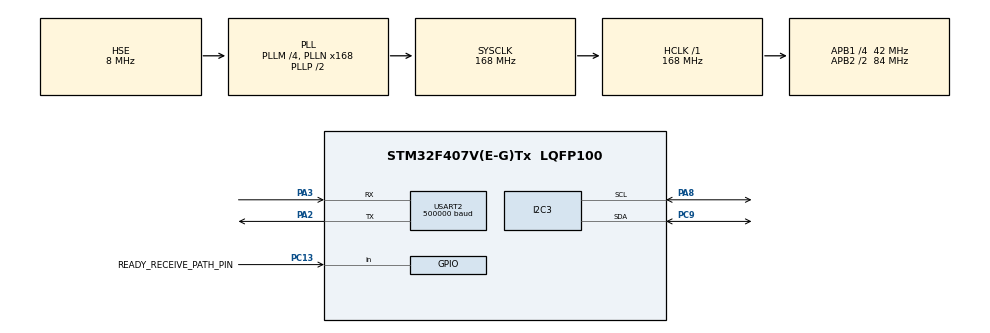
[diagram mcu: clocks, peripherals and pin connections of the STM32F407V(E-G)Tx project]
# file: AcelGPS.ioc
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FREERTOS.Tasks01=defaultTask,24,128,StartDefaultTask,Default,NULL,Dynamic,NULL,NULL
Mcu.Family=STM32F4
Mcu.Name=STM32F407V(E-G)Tx
Mcu.Package=LQFP100
NVIC.PriorityGroup=NVIC_PRIORITYGROUP_4
NVIC.TIM6_DAC_IRQn=true\:15\:0\:false\:false\:true\:false\:false\:true
NVIC.TimeBase=TIM6_DAC_IRQn
NVIC.TimeBaseIP=TIM6
NVIC.USART2_IRQn=true\:5\:0\:false\:false\:true\:true\:true\:true
PA2.Mode=Asynchronous
PA2.Signal=USART2_TX
PA3.Mode=Asynchronous
PA3.Signal=USART2_RX
PA8.Mode=I2C
PA8.Signal=I2C3_SCL
PC13-ANTI_TAMP.GPIO_Label=READY_RECEIVE_PATH_PIN
PC13-ANTI_TAMP.GPIO_PuPd=GPIO_PULLUP
PC13-ANTI_TAMP.Signal=GPIO_Input
PC9.Mode=I2C
PC9.Signal=I2C3_SDA
PH0-OSC_IN.Mode=HSE-External-Oscillator
PH0-OSC_IN.Signal=RCC_OSC_IN
PH1-OSC_OUT.Mode=HSE-External-Oscillator
PH1-OSC_OUT.Signal=RCC_OSC_OUT
ProjectManager.HeapSize=0x200
ProjectManager.StackSize=0x400
ProjectManager.TargetToolchain=STM32CubeIDE
RCC.48MHZClocksFreq_Value=84000000
RCC.AHBFreq_Value=168000000
RCC.APB1CLKDivider=RCC_HCLK_DIV4
RCC.APB1Freq_Value=42000000
RCC.APB1TimFreq_Value=84000000
RCC.APB2CLKDivider=RCC_HCLK_DIV2
RCC.APB2Freq_Value=84000000
RCC.APB2TimFreq_Value=168000000
RCC.CortexFreq_Value=168000000
RCC.HCLKFreq_Value=168000000
RCC.HSE_VALUE=8000000
RCC.HSI_VALUE=16000000
RCC.LSE_VALUE=32768
RCC.PLLM=4
RCC.PLLN=168
RCC.PLLSourceVirtual=RCC_PLLSOURCE_HSE
RCC.SYSCLKFreq_VALUE=168000000
RCC.SYSCLKSource=RCC_SYSCLKSOURCE_PLLCLK
RCC.VCOOutputFreq_Value=336000000
USART2.BaudRate=500000
USART2.VirtualMode=VM_ASYNC
VP_FREERTOS_VS_CMSIS_V2.Mode=CMSIS_V2
VP_SYS_VS_tim6.Mode=TIM6
board=custom

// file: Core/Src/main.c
/* USER CODE BEGIN Header */
/**
  ******************************************************************************
  * @file           : main.c
  * @brief          : Main program body
  ******************************************************************************
  * @attention
  *
  * <h2><center>&copy; Copyright (c) 2024 STMicroelectronics.
  * All rights reserved.</center></h2>
  *
  * This software component is licensed by ST under BSD 3-Clause license,
  * the "License"; You may not use this file except in compliance with the
  * License. You may obtain a copy of the License at:
  *                        opensource.org/licenses/BSD-3-Clause
  *
  ******************************************************************************
  */
/* USER CODE END Header */
#include "main.h"
#include "cmsis_os.h"

/* USER CODE BEGIN Includes */
#include <stdint.h>
#include <stdlib.h>
#include "math.h"
#include "task.h"
#include "queue.h"
#include "semphr.h"
#include "serial_uart.h"
/* USER CODE END Includes */

I2C_HandleTypeDef hi2c3;

UART_HandleTypeDef huart2;

/* Definitions for defaultTask */
osThreadId_t defaultTaskHandle;
const osThreadAttr_t defaultTask_attributes = {
  .name = "defaultTask",
  .stack_size = 128 * 4,
  .priority = (osPriority_t) osPriorityNormal,
};

void SystemClock_Config(void);
static void MX_GPIO_Init(void);
static void MX_USART2_UART_Init(void);
static void MX_I2C3_Init(void);
void StartDefaultTask(void *argument);

/* USER CODE BEGIN PFP */
float dt = 0.01;
void PID_func (int16_t in, int16_t setpt, int16_t *udata, int16_t kp, int16_t ki, int16_t kd, float T);
void hedgehog_send_write_answer_success(void);
void hedgehog_set_crc16(uint8_t *buf, uint8_t size);
static void iecompass(int16_t iBpx, int16_t iBpy, int16_t iBpz,int16_t iGpx, int16_t iGpy, int16_t iGpz);
static int16_t iTrig(int16_t ix, int16_t iy);
static int16_t iHundredAtan2Deg(int16_t iy, int16_t ix);
static int16_t iHundredAtanDeg(int16_t iy, int16_t ix);
static int16_t iDivide(int16_t iy, int16_t ix);
void task_UARTman( void *pvParameters );
void task_AcelGyr( void *pvParameters );
void task_MagRot( void *pvParameters );
void task_RobotPos( void *pvParameters );
QueueHandle_t xQueue_GPS;
QueueHandle_t xQueue_VelAng;
QueueHandle_t xQueue_VelLin;
QueueHandle_t xQueue_RotBase;
QueueHandle_t xQueue_CampMag;
QueueHandle_t xQueue_VelAux;
QueueHandle_t xQueue_CampAux;
QueueHandle_t xQueue_SetpointPos;
QueueHandle_t xQueue_SetVelMot;
QueueHandle_t xQueue_RotYaw;
QueueHandle_t xQueue_XYref;
SemaphoreHandle_t xSerial_semaphore; //semaforo a ser utilizado para o LCD e o HW290

// Definição da Base Robótica
#define L 1
#define r 1
#define alfa1 1
#define alfa2 1
#define alfa3 1

//Coeficientes da matriz de cinemática direta
#define sn1 -sin(alfa1)
#define sn2 -sin(alfa2)
#define sn3 -sin(alfa3)
#define cs1 cos(alfa1)
#define cs2 cos(alfa2)
#define cs3 cos(alfa3)

/* USER CODE END PFP */

/* USER CODE BEGIN 0 */

// variáveis do magnetômetro, bússula, módulo HMC5883L
uint8_t adjst[2] = {0x01, 0x1D};
uint8_t bypass[2] = {0x02, 0x00};
uint8_t readMag[6];
int16_t Bx, By, Bz;
float bussMagRead, bussula;
#define pi 3.14159

// variáveis do acelerômetro e giroscópio, módulo MPU6050

#define MPU6050_ADDR 0xD0
#define SMPLRT_DIV_REG 0x19
#define GYRO_CONFIG_REG 0x1B
#define ACCEL_CONFIG_REG 0x1C
#define ACCEL_XOUT_H_REG 0x3B
#define TEMP_OUT_H_REG 0x41
#define GYRO_XOUT_H_REG 0x43
#define PWR_MGMT_1_REG 0x6B
#define WHO_AM_I_REG 0x75

int16_t Accel_X_RAW = 0;
int16_t Accel_Y_RAW = 0;
int16_t Accel_Z_RAW = 0;

int16_t Gyro_X_RAW = 0;
int16_t Gyro_Y_RAW = 0;
int16_t Gyro_Z_RAW = 0;

float Ax, Ay, Az, Gx, Gy, Gz;

// Variáveis de roll, pitch e yaw

static int16_t iPhi, iThe, iPsi;
/* magnetic field readings corrected for hard iron effects and PCB orientation */
static int16_t iBfx, iBfy, iBfz;
/* hard iron estimate */
static int16_t iVx, iVy, iVz;

/* fifth order of polynomial approximation giving 0.05 deg max error */
const int16_t K1 = 5701;
const int16_t K2 = -1645;
const int16_t K3 = 446;
const uint16_t MINDELTATRIG = 1; /* final step size for iTrig */
const uint16_t MINDELTADIV = 1; /* final step size for iDivide */

//  MARVELMIND HEDGEHOG RELATED PART BEGIN
//#define READY_RECEIVE_PATH_PIN 3

//////////////////

#define PACKET_TYPE_STREAM_FROM_HEDGE 0x47
#define PACKET_TYPE_REPLY_TO_STREAM 0x48
#define PACKET_TYPE_READ_FROM_DEVICE 0x49
#define PACKET_TYPE_WRITE_TO_DEVICE 0x4a

#define HEDGEHOG_POS_PACKET_ID 0x0001
#define READY_CONFIRM_PACKET_ID 0x0100
#define MOVEMENT_PATH_PACKET_ID 0x0201

#define DATA_OFS 5

int16_t hedgehog_x, hedgehog_y;// coordinates of hedgehog (X,Y), cm
int16_t hedgehog_z;// height of hedgehog, cm
uint8_t hedgehog_flags= 0;
uint8_t hedgehog_address= 0;
int16_t hedgehog_pos_updated = 0;// flag of new data from hedgehog received

#define HEDGEHOG_BUF_SIZE 64
uint8_t hedgehog_serial_buf[HEDGEHOG_BUF_SIZE];
uint8_t hedgehog_serial_buf_ofs = 0;
uint8_t hedgehog_packet_size;

uint8_t hedgehog_packet_type;
int16_t hedgehog_packet_id = 0;

HAL_UART_StateTypeDef UART_status2; // configuração da UART
uint8_t UART_data_rx, UART_data_tx; // configuração da UART
uint32_t TimeoutUART = 1; // tempo

typedef union {uint8_t b[2]; uint16_t w;} uni_8x2_16;

typedef struct {
  uint8_t moveType;
  int16_t param1;
  int16_t param2;
} MoveItem;
#define MAX_MOVE_ITEMS 64
MoveItem moveItems[MAX_MOVE_ITEMS];
uint8_t moveItemsNum= 0;

uint32_t prevMoveItemShowTime= 0;
uint8_t moveItemShowIndex= 0;

/////////////////////////////////////////////////////////////////////////////////////////////////
void hedgehog_send_packet(uint8_t address, uint8_t packet_type, uint16_t id, uint8_t data_size)
{
   uint8_t frameSizeBeforeCRC;

   hedgehog_serial_buf[0]= address;

   hedgehog_serial_buf[1]= packet_type;

   hedgehog_serial_buf[2]= id&0xff;
   hedgehog_serial_buf[3]= (id>>8)&0xff;

   if (data_size != 0)
   {
     hedgehog_serial_buf[4]= data_size;
     frameSizeBeforeCRC= data_size+5;
   }
   else
   {
     frameSizeBeforeCRC= 4;
   }

   hedgehog_set_crc16(&hedgehog_serial_buf[0], frameSizeBeforeCRC);
   Serial_Write(hedgehog_serial_buf, frameSizeBeforeCRC+2);
}

/////////////////////////////////////////////////////////////////////////////////////////////////

// Sends confirmation packet of readyness state to transmit/receive data
void hedgehog_send_ready_confirm()
{
  uint8_t status= 0;

  // estado de operação da UART
  if( HAL_GPIO_ReadPin(READY_RECEIVE_PATH_PIN_GPIO_Port, READY_RECEIVE_PATH_PIN_Pin) == GPIO_PIN_RESET)
  {
	  status|= (1<<0);// ready to receive data
  }
  hedgehog_serial_buf[DATA_OFS + 0]= status;
  hedgehog_serial_buf[DATA_OFS + 1]= 0;
  hedgehog_serial_buf[DATA_OFS + 2]= 0;
  hedgehog_serial_buf[DATA_OFS + 3]= 0;

  hedgehog_send_packet(hedgehog_address, PACKET_TYPE_REPLY_TO_STREAM, READY_CONFIRM_PACKET_ID, 4);
}

////////////////////////////////////////////////////////////////////////////////////////////////////

void restart_packet_receive()
{
   hedgehog_serial_buf_ofs= 0;// restart bufer fill
   hedgehog_packet_id= 0;
}

int16_t check_packet_data_size(uint8_t packet_type, uint16_t packet_id, uint8_t size, uint8_t wanted_size)
{
   if (hedgehog_packet_type == packet_type)
     if (hedgehog_packet_id == packet_id)
       if (size != wanted_size)
         {
           restart_packet_receive();
           return 0;
         }
   return 1;
}

///////////////////////////////////////////////////////////////////////////////////////////////////////

// Sends answer on write request
void hedgehog_send_write_answer_success(void)
{
   hedgehog_send_packet(hedgehog_address, hedgehog_packet_type, hedgehog_packet_id, 0);
}

//////////////////////////////////////////////////////////////////////////////////////////////////

void process_stream_packet()
{
   if (hedgehog_packet_id == HEDGEHOG_POS_PACKET_ID)
      {// packet of hedgehog position
         hedgehog_x= (int16_t)hedgehog_serial_buf[9] + (int16_t)((hedgehog_serial_buf[10])<<8);
         hedgehog_y= (int16_t)hedgehog_serial_buf[11] + (int16_t)((hedgehog_serial_buf[12])<<8);// coordinates of hedgehog (X,Y), cm
         hedgehog_z= (int16_t)hedgehog_serial_buf[13] + (int16_t)((hedgehog_serial_buf[14])<<8);// height of hedgehog, cm (FW V3.97+)
         hedgehog_flags= hedgehog_serial_buf[15];
         hedgehog_address= hedgehog_serial_buf[16];
         hedgehog_pos_updated= 1;// flag of new data from hedgehog received

		 xQueueSend(xQueue_GPS, &hedgehog_x, pdMS_TO_TICKS(1)); // deixa os dados de posição na fila
		 xQueueSend(xQueue_GPS, &hedgehog_y, pdMS_TO_TICKS(1));
		 xQueueSend(xQueue_GPS, &hedgehog_z, pdMS_TO_TICKS(1));

		 xQueueSend( xQueue_XYref,&hedgehog_x, pdMS_TO_TICKS(1)); // dados para cálculo
		 xQueueSend( xQueue_XYref,&hedgehog_y, pdMS_TO_TICKS(1));

         if (hedgehog_flags&0x08)
          {// request for writing data
            hedgehog_send_ready_confirm();
          }
      }
}

//////////////////////////////////////////////////////////////////////////////////////////

void process_write_packet()
{
  if (hedgehog_packet_id == MOVEMENT_PATH_PACKET_ID)
     {// movement path packet
	    uint8_t indcur= hedgehog_serial_buf[5+1];
        moveItemsNum= hedgehog_serial_buf[5+2];

        if (moveItemsNum>=MAX_MOVE_ITEMS)
          moveItemsNum= MAX_MOVE_ITEMS;
        if (indcur<moveItemsNum)
          {
            moveItems[indcur].moveType= hedgehog_serial_buf[5+0];
            moveItems[indcur].param1= hedgehog_serial_buf[5+3] | (int16_t)((hedgehog_serial_buf[5+4])<<8);
            moveItems[indcur].param2= hedgehog_serial_buf[5+5] | (int16_t)((hedgehog_serial_buf[5+6])<<8);

          }

        // send answer packet
        hedgehog_send_write_answer_success();
     }
}

//////////////////////////////////////////////////////////////////////////////////

// Marvelmind hedgehog service loop
//void loop_hedgehog()
void task_UARTman( void *pvParameters ) // TASK DO SENSOR GPS
{int16_t incoming_byte;
 int16_t total_received_in_loop;
 int16_t packet_received;
 //int packet_id;
 //int i,n,ofs;

  while(1)
  {
	  total_received_in_loop= 0;
	  packet_received= 0;
	  while(Serial_Available() > 0) //Verificando se tem byter recebidos
	  {
		  if (hedgehog_serial_buf_ofs>=HEDGEHOG_BUF_SIZE)
			{
			  hedgehog_serial_buf_ofs= 0;
			  break;// buffer overflow
			}
		  total_received_in_loop++;
		  if (total_received_in_loop>100) break;// too much data without required header

		  //incoming_byte = Serial.read();
		  incoming_byte = Serial_Read(); //Lendo o byte
		  if (hedgehog_serial_buf_ofs==0)
			{// check first bytes for constant value
			  if (incoming_byte != 0xff)
				{
				  hedgehog_serial_buf_ofs= 0;// restart bufer fill
				  hedgehog_packet_id= 0;
				  continue;
				}
			}
		  else if (hedgehog_serial_buf_ofs==1)
			{// check packet type
			  if ( (incoming_byte == PACKET_TYPE_STREAM_FROM_HEDGE) ||
				   (incoming_byte == PACKET_TYPE_READ_FROM_DEVICE) ||
				   (incoming_byte == PACKET_TYPE_WRITE_TO_DEVICE)
				 )
				{// correct packet type - save
				  hedgehog_packet_type= incoming_byte;
				}
			   else
				{// incorrect packet type - skip packet
				  restart_packet_receive();
				  continue;
				}
			}
		  else if (hedgehog_serial_buf_ofs==3)
			{// Check two-bytes packet ID
			  hedgehog_packet_id= hedgehog_serial_buf[2] + incoming_byte*256;
			  switch(hedgehog_packet_type)
			  {
				case PACKET_TYPE_STREAM_FROM_HEDGE:
				  {
					switch(hedgehog_packet_id)
					  {
						case HEDGEHOG_POS_PACKET_ID:
						  {
							break;
						  }

						default:
						  {// incorrect packet ID - skip packet
							restart_packet_receive();
							continue;
						  }
					  }
					break;
				  }

				  case PACKET_TYPE_WRITE_TO_DEVICE:
				  {
					switch(hedgehog_packet_id)
					  {
						case MOVEMENT_PATH_PACKET_ID:
						  {
							break;
						  }

						default:
						  {// incorrect packet ID - skip packet
							restart_packet_receive();
							continue;
						  }
					  }
					break;
				  }
			  }
			}
		else if (hedgehog_serial_buf_ofs==4)
		  {// data field size
			if (check_packet_data_size(PACKET_TYPE_STREAM_FROM_HEDGE, HEDGEHOG_POS_PACKET_ID, incoming_byte, 0x10) == 0)
			   continue;// incorrect hedgehog coordinates data size

			if (check_packet_data_size(PACKET_TYPE_WRITE_TO_DEVICE, MOVEMENT_PATH_PACKET_ID, incoming_byte, 0x0c) == 0)
			   continue;// incorrect movement path packet data size

			 // save required packet size
			 hedgehog_packet_size= incoming_byte + 7;
		  }

		  hedgehog_serial_buf[hedgehog_serial_buf_ofs++]= incoming_byte;
		  if (hedgehog_serial_buf_ofs>5)
		   if (hedgehog_serial_buf_ofs == hedgehog_packet_size)
			{// received packet with required header
			  packet_received= 1;
			  hedgehog_serial_buf_ofs= 0;// restart bufer fill
			  break;
			}
		}

	  if (packet_received)
		{
		  hedgehog_set_crc16(&hedgehog_serial_buf[0], hedgehog_packet_size);// calculate CRC checksum of packet
		  if ((hedgehog_serial_buf[hedgehog_packet_size] == 0)&&(hedgehog_serial_buf[hedgehog_packet_size+1] == 0))
			{// checksum success
			  switch(hedgehog_packet_type)
			  {
				case PACKET_TYPE_STREAM_FROM_HEDGE:
				 {
				   process_stream_packet();
				   break;
				 }

				case PACKET_TYPE_WRITE_TO_DEVICE:
				 {
				   process_write_packet();
				   break;
				 }
			  }//switch
			}
		}// if (packet_received)

	  vTaskDelay(pdMS_TO_TICKS(100));
	} //while
}// loop_hedgehog

//////////////////////////////////////////////////////////////////////////////////////

// Calculate CRC-16 of hedgehog packet
void hedgehog_set_crc16(uint8_t *buf, uint8_t size)
{uni_8x2_16 sum;
 uint8_t shift_cnt;
 uint8_t byte_cnt;

  sum.w=0xffffU;

  for(byte_cnt=size; byte_cnt>0; byte_cnt--)
   {
   sum.w=(unsigned int) ((sum.w/256U)*256U + ((sum.w%256U)^(buf[size-byte_cnt])));

     for(shift_cnt=0; shift_cnt<8; shift_cnt++)
       {
         if((sum.w&0x1)==1) sum.w=(unsigned int)((sum.w>>1)^0xa001U);
                       else sum.w>>=1;
       }
   }

  buf[size]=sum.b[0];
  buf[size+1]=sum.b[1];// little endian
}// hedgehog_set_crc16

////////////////////////////////////////////////  END OF MARVELMIND HEDGEHOG RELATED PART

/// Funções do módulo  MPU6050 /////////////////////////////////////////////////////

void MPU6050_Init (void)
{
	uint8_t check;
	uint8_t Data;

	// check device ID WHO_AM_I

	HAL_I2C_Mem_Read (&hi2c3, MPU6050_ADDR,WHO_AM_I_REG,1, &check, 1, 1000);

	if (check == 104)  // 0x68 will be returned by the sensor if everything goes well
	{
		// power management register 0X6B we should write all 0's to wake the sensor up
		Data = 0;
		HAL_I2C_Mem_Write(&hi2c3, MPU6050_ADDR, PWR_MGMT_1_REG, 1,&Data, 1, 1000);

		// Set DATA RATE of 1KHz by writing SMPLRT_DIV register
		Data = 0x07;
		HAL_I2C_Mem_Write(&hi2c3, MPU6050_ADDR, SMPLRT_DIV_REG, 1, &Data, 1, 1000);

		// Set accelerometer configuration in ACCEL_CONFIG Register
		// XA_ST=0,YA_ST=0,ZA_ST=0, FS_SEL=0 -> � 2g
		Data = 0x00;
		HAL_I2C_Mem_Write(&hi2c3, MPU6050_ADDR, ACCEL_CONFIG_REG, 1, &Data, 1, 1000);

		// Set Gyroscopic configuration in GYRO_CONFIG Register
		// XG_ST=0,YG_ST=0,ZG_ST=0, FS_SEL=0 -> � 250 �/s
		Data = 0x00;
		HAL_I2C_Mem_Write(&hi2c3, MPU6050_ADDR, GYRO_CONFIG_REG, 1, &Data, 1, 1000);

		HAL_I2C_Mem_Write(&hi2c3, MPU6050_ADDR, 0x37, 1, &bypass[0], 1, 100); // ativa o Pass-Through Mode
		HAL_I2C_Mem_Write(&hi2c3, MPU6050_ADDR, 0x6A, 1, &bypass[1], 1, 100);
	}

}

void MPU6050_Read_Accel (void)
{
	uint8_t Rec_Data[6];
	uint8_t Data = 0;
	// Read 6 BYTES of data starting from ACCEL_XOUT_H register

	HAL_I2C_Mem_Write(&hi2c3, MPU6050_ADDR, PWR_MGMT_1_REG, 1,&Data, 1, 1000);

	HAL_I2C_Mem_Read (&hi2c3, MPU6050_ADDR, ACCEL_XOUT_H_REG, 1, Rec_Data, 6, 1000);

	Accel_X_RAW = (int16_t)(Rec_Data[0] << 8 | Rec_Data [1]);
	Accel_Y_RAW = (int16_t)(Rec_Data[2] << 8 | Rec_Data [3]);
	Accel_Z_RAW = (int16_t)(Rec_Data[4] << 8 | Rec_Data [5]);

	/*** convert the RAW values into acceleration in 'g'
	     we have to divide according to the Full scale value set in FS_SEL
	     I have configured FS_SEL = 0. So I am dividing by 16384.0
	     for more details check ACCEL_CONFIG Register              ****/

	Ax = Accel_X_RAW/16384.0;
	Ay = Accel_Y_RAW/16384.0;
	Az = Accel_Z_RAW/16384.0;

	xQueueSend(xQueue_VelLin, &Ax, pdMS_TO_TICKS(1)); // deixa os dados de velocidade linear na fila
	xQueueSend(xQueue_VelLin, &Ay, pdMS_TO_TICKS(1));
	xQueueSend(xQueue_VelLin, &Az, pdMS_TO_TICKS(1));
}

void MPU6050_Read_Gyro (void)
{
	uint8_t Rec_Data[6];
	uint8_t Data = 0;

	// Read 6 BYTES of data starting from GYRO_XOUT_H register
	HAL_I2C_Mem_Write(&hi2c3, MPU6050_ADDR, PWR_MGMT_1_REG, 1,&Data, 1, 1000); //Desativa o Sleep Mode

	HAL_I2C_Mem_Read (&hi2c3, MPU6050_ADDR, GYRO_XOUT_H_REG, 1, Rec_Data, 6, 1000);

	Gyro_X_RAW = (int16_t)(Rec_Data[0] << 8 | Rec_Data [1]);
	Gyro_Y_RAW = (int16_t)(Rec_Data[2] << 8 | Rec_Data [3]);
	Gyro_Z_RAW = (int16_t)(Rec_Data[4] << 8 | Rec_Data [5]);

	/*** convert the RAW values into dps (�/s)
	     we have to divide according to the Full scale value set in FS_SEL
	     I have configured FS_SEL = 0. So I am dividing by 131.0
	     for more details check GYRO_CONFIG Register              ****/

	Gx = Gyro_X_RAW/131.0;
	Gy = Gyro_Y_RAW/131.0;
	Gz = Gyro_Z_RAW/131.0;

	xQueueSend(xQueue_VelAux, &Gx, pdMS_TO_TICKS(1)); // deixa os dados de velocidade Angular na fila
	xQueueSend(xQueue_VelAux, &Gy, pdMS_TO_TICKS(1));
	xQueueSend(xQueue_VelAux, &Gz, pdMS_TO_TICKS(1));
}

/////////////// FUNÇÕES DO MÓDULO HMC5883L ///////////////////////////////////////

void HMC5883L_Init (void)
{
	HAL_I2C_Mem_Write(&hi2c3, 0x1A, 0x0B, 1, &adjst[0], 1, 100); //escreve nessas posições
	HAL_I2C_Mem_Write(&hi2c3, 0x1A, 0x09, 1, &adjst[1], 1, 100);
}

void HMC5883L_Read_Mag (void)
{
	HAL_I2C_Mem_Read(&hi2c3, 0x1A, 0x06, 1, readMag, 1, 100);
	if(readMag[0]&0x01)
	{
		HAL_I2C_Mem_Read(&hi2c3, 0x1A, 0x00, 1, readMag, 6, 100);
		Bx = (readMag[1]<<8)|readMag[0];
		By = (readMag[3]<<8)|readMag[2];
		Bz = (readMag[5]<<8)|readMag[4];
		bussula = atan2f(By, Bx)*180/pi;
		if(bussula > 0)
		{
			bussMagRead = bussula;
		}
		else
		{
			bussMagRead = 360 + bussula;
		}

		xQueueSend(xQueue_CampAux, &Bx, pdMS_TO_TICKS(1)); // deixa os dados de Campo na fila
	    xQueueSend(xQueue_CampAux, &By, pdMS_TO_TICKS(1));
	    xQueueSend(xQueue_CampAux, &Bz, pdMS_TO_TICKS(1));
	}
}

///////////////////////// FUNÇÕES DE ROLL, PITCH e YAW //////////////////////////////////////////

/* tilt-compensated e-Compass code */
static void iecompass(int16_t iBpx, int16_t iBpy, int16_t iBpz,int16_t iGpx, int16_t iGpy, int16_t iGpz)
{
	/* stack variables */
	/* iBpx, iBpy, iBpz: the three components of the magnetometer sensor */
	/* iGpx, iGpy, iGpz: the three components of the accelerometer sensor */
	/* local variables */
	int16_t iSin, iCos; /* sine and cosine */
	int32_t tmpAngle; /* temporary angle*100 deg: range -36000 to 36000 */
	static int16_t iLPPhi, iLPThe, iLPPsi; /* low pass filtered angle*100 deg: range -18000 to 18000 */
	static uint16_t ANGLE_LPF = 32768 /10; /* low pass filter: set to 32768 / N for N samples averaging */
	/* subtract the hard iron offset */
	iBpx -= iVx; /* see Eq 16 */
	iBpy -= iVy; /* see Eq 16 */
	iBpz -= iVz; /* see Eq 16 */

	/* calculate current roll angle Phi */
	iPhi = iHundredAtan2Deg(iGpy, iGpz);/* Eq 13 */

	tmpAngle = (int32_t)iPhi - (int32_t)iLPPhi;
	if (tmpAngle > 18000) tmpAngle -= 36000;
	if (tmpAngle < -18000) tmpAngle += 36000;
	/* calculate the new low pass filtered angle */
	tmpAngle = (int32_t)iLPPhi + ((ANGLE_LPF * tmpAngle) >> 15);
	/* check that the angle remains in -180 to 180 deg bounds */
	if (tmpAngle > 18000) tmpAngle -= 36000;
	if (tmpAngle < -18000) tmpAngle += 36000;
	/* store the correctly bounded low pass filtered angle */
	iLPPhi = (int16_t)tmpAngle;

	/* calculate sin and cosine of roll angle Phi */
	iSin = iTrig(iGpy, iGpz); /* Eq 13: sin = opposite / hypotenuse */
	iCos = iTrig(iGpz, iGpy); /* Eq 13: cos = adjacent / hypotenuse */
	/* de-rotate by roll angle Phi */
	iBfy = (int16_t)((iBpy * iCos - iBpz * iSin) >> 15);/* Eq 19 y component */
	iBpz = (int16_t)((iBpy * iSin + iBpz * iCos) >> 15);/* Bpy*sin(Phi)+Bpz*cos(Phi)*/
	iGpz = (int16_t)((iGpy * iSin + iGpz * iCos) >> 15);/* Eq 15 denominator */
	/* calculate current pitch angle Theta */
	iThe = iHundredAtan2Deg((int16_t)-iGpx, iGpz);/* Eq 15 */
	/* restrict pitch angle to range -90 to 90 degrees */
	if (iThe > 9000) iThe = (int16_t) (18000 - iThe);
	if (iThe < -9000) iThe = (int16_t) (-18000 - iThe);

	tmpAngle = (int32_t)iThe - (int32_t)iLPThe;
	if (tmpAngle > 18000) tmpAngle -= 36000;
	if (tmpAngle < -18000) tmpAngle += 36000;
	/* calculate the new low pass filtered angle */
	tmpAngle = (int32_t)iLPThe + ((ANGLE_LPF * tmpAngle) >> 15);
	if (tmpAngle > 9000) tmpAngle = (int16_t)(18000 - tmpAngle);
	if (tmpAngle < -9000) tmpAngle = (int16_t)(-18000 - tmpAngle);
	/* store the correctly bounded low pass filtered angle */
	iLPThe = (int16_t)tmpAngle;

	/* calculate sin and cosine of pitch angle Theta */
	iSin = (int16_t)-iTrig(iGpx, iGpz); /* Eq 15: sin = opposite / hypotenuse */
	iCos = iTrig(iGpz, iGpx); /* Eq 15: cos = adjacent / hypotenuse */
	/* correct cosine if pitch not in range -90 to 90 degrees */
	if (iCos < 0) iCos = (int16_t)-iCos;
	/* de-rotate by pitch angle Theta */
	iBfx = (int16_t)((iBpx * iCos + iBpz * iSin) >> 15); /* Eq 19: x component */
	iBfz = (int16_t)((-iBpx * iSin + iBpz * iCos) >> 15);/* Eq 19: z component */
	/* calculate current yaw = e-compass angle Psi */
	iPsi = iHundredAtan2Deg((int16_t)-iBfy, iBfx); /* Eq 22 */

	/* implement a modulo arithmetic exponential low pass filter on the yaw angle */
	/* compute the change in angle modulo 360 degrees */
	tmpAngle = (int32_t)iPsi - (int32_t)iLPPsi;
	if (tmpAngle > 18000) tmpAngle -= 36000;
	if (tmpAngle < -18000) tmpAngle += 36000;
	/* calculate the new low pass filtered angle */
	tmpAngle = (int32_t)iLPPsi + ((ANGLE_LPF * tmpAngle) >> 15);
	/* check that the angle remains in -180 to 180 deg bounds */
	if (tmpAngle > 18000) tmpAngle -= 36000;
	if (tmpAngle < -18000) tmpAngle += 36000;
	/* store the correctly bounded low pass filtered angle */
	iLPPsi = (int16_t)tmpAngle;

	xQueueSend(xQueue_RotBase, &iLPPhi, pdMS_TO_TICKS(1)); // deixa os dados de velocidade Angular na fila
	xQueueSend(xQueue_RotBase, &iLPThe, pdMS_TO_TICKS(1));
	xQueueSend(xQueue_RotBase, &iLPPsi, pdMS_TO_TICKS(1));
	xQueueSend(xQueue_RotYaw, &iLPPsi, pdMS_TO_TICKS(1));
}

/* function to calculate ir = ix / sqrt(ix*ix+iy*iy) using binary division */
static int16_t iTrig(int16_t ix, int16_t iy)
{
	uint32_t itmp; /* scratch */
	uint32_t ixsq; /* ix * ix */
	int16_t isignx; /* storage for sign of x. algorithm assumes x >= 0 then corrects later */
	uint32_t ihypsq; /* (ix * ix) + (iy * iy) */
	int16_t ir; /* result = ix / sqrt(ix*ix+iy*iy) range -1, 1 returned as signed Int16 */
	int16_t idelta; /* delta on candidate result dividing each stage by factor of 2 */
	/* stack variables */
	/* ix, iy: signed 16 bit integers representing sensor reading in range -32768 to 32767 */
	/* function returns signed Int16 as signed fraction (ie +32767=0.99997, -32768=-1.0000) */
	/* algorithm solves for ir*ir*(ix*ix+iy*iy)=ix*ix */
	/* correct for pathological case: ix==iy==0 */
	if ((ix == 0) && (iy == 0)) ix = iy = 1;
	/* check for -32768 which is not handled correctly */
	if (ix == -32768) ix = -32767;
	if (iy == -32768) iy = -32767;
	/* store the sign for later use. algorithm assumes x is positive for convenience */
	isignx = 1;
	if (ix < 0)
	{
		ix = (int16_t)-ix;
		isignx = -1;
	}
	/* for convenience in the boosting set iy to be positive as well as ix */
	iy = (int16_t)abs(iy);
	/* to reduce quantization effects, boost ix and iy but keep below maximum signed 16 bit */
	while ((ix < 16384) && (iy < 16384))
	{
		ix = (int16_t)(ix + ix);
		iy = (int16_t)(iy + iy);
	}
	/* calculate ix*ix and the hypotenuse squared */
	ixsq = (uint32_t)(ix * ix); /* ixsq=ix*ix: 0 to 32767^2 = 1073676289 */
	ihypsq = (uint32_t)(ixsq + iy * iy); /* ihypsq=(ix*ix+iy*iy) 0 to 2*32767*32767=2147352578 */
	/* set result r to zero and binary search step to 16384 = 0.5 */
	ir = 0;
	idelta = 16384; /* set as 2^14 = 0.5 */
	/* loop over binary sub-division algorithm */
	do
	{
		/* generate new candidate solution for ir and test if we are too high or too low */
		/* itmp=(ir+delta)^2, range 0 to 32767*32767 = 2^30 = 1073676289 */
		itmp = (uint32_t)((ir + idelta) * (ir + idelta));
		/* itmp=(ir+delta)^2*(ix*ix+iy*iy), range 0 to 2^31 = 2147221516 */
		itmp = (itmp >> 15) * (ihypsq >> 15);
		if (itmp <= ixsq) ir += idelta;
			idelta = (int16_t)(idelta >> 1); /* divide by 2 using right shift one bit */
	} while (idelta >= MINDELTATRIG); /* last loop is performed for idelta=MINDELTATRIG */
	/* correct the sign before returning */
	return (int16_t)(ir * isignx);
}

/* calculates 100*atan2(iy/ix)=100*atan2(iy,ix) in deg for ix, iy in range -32768 to 32767 */
static int16_t iHundredAtan2Deg(int16_t iy, int16_t ix)
{
	int16_t iResult; /* angle in degrees times 100 */
	/* check for -32768 which is not handled correctly */
	if (ix == -32768) ix = -32767;
	if (iy == -32768) iy = -32767;
	/* check for quadrants */
	if ((ix >= 0) && (iy >= 0)) /* range 0 to 90 degrees */
	iResult = iHundredAtanDeg(iy, ix);
	else if ((ix <= 0) && (iy >= 0)) /* range 90 to 180 degrees */
	iResult = (int16_t)(18000 - (int16_t)iHundredAtanDeg(iy, (int16_t)-ix));
	else if ((ix <= 0) && (iy <= 0)) /* range -180 to -90 degrees */
	iResult = (int16_t)((int16_t)-18000 + iHundredAtanDeg((int16_t)-iy, (int16_t)-ix));
	else /* ix >=0 and iy <= 0 giving range -90 to 0 degrees */
	iResult = (int16_t)(-iHundredAtanDeg((int16_t)-iy, ix));
	return (iResult);
}

/* calculates 100*atan(iy/ix) range 0 to 9000 for all ix, iy positive in range 0 to 32767 */
static int16_t iHundredAtanDeg(int16_t iy, int16_t ix)
{
	int32_t iAngle; /* angle in degrees times 100 */
	int16_t iRatio; /* ratio of iy / ix or vice versa */
	int32_t iTmp; /* temporary variable */
	/* check for pathological cases */
	if ((ix == 0) && (iy == 0)) return (0);
	if ((ix == 0) && (iy != 0)) return (9000);
	/* check for non-pathological cases */
	if (iy <= ix)
		iRatio = iDivide(iy, ix); /* return a fraction in range 0. to 32767 = 0. to 1. */
	else
		iRatio = iDivide(ix, iy); /* return a fraction in range 0. to 32767 = 0. to 1. */
	/* first, third and fifth order polynomial approximation */
	iAngle = (int32_t) K1 * (int32_t) iRatio;
	iTmp = ((int32_t) iRatio >> 5) * ((int32_t) iRatio >> 5) * ((int32_t) iRatio >> 5);
	iAngle += (iTmp >> 15) * (int32_t) K2;
	iTmp = (iTmp >> 20) * ((int32_t) iRatio >> 5) * ((int32_t) iRatio >> 5);
	iAngle += (iTmp >> 15) * (int32_t) K3;
	iAngle = iAngle >> 15;
	/* check if above 45 degrees */
	if (iy > ix) iAngle = (int16_t)(9000 - iAngle);
	/* for tidiness, limit result to range 0 to 9000 equals 0.0 to 90.0 degrees */
	if (iAngle < 0) iAngle = 0;
	if (iAngle > 9000) iAngle = 9000;
	return ((int16_t) iAngle);
}

/* function to calculate ir = iy / ix with iy <= ix, and ix, iy both > 0 */
static int16_t iDivide(int16_t iy, int16_t ix)
{
	int16_t itmp; /* scratch */
	int16_t ir; /* result = iy / ix range 0., 1. returned in range 0 to 32767 */
	int16_t idelta; /* delta on candidate result dividing each stage by factor of 2 */
	/* set result r to zero and binary search step to 16384 = 0.5 */
	ir = 0;
	idelta = 16384; /* set as 2^14 = 0.5 */
	/* to reduce quantization effects, boost ix and iy to the maximum signed 16 bit value */
	while ((ix < 16384) && (iy < 16384))
	{
		ix = (int16_t)(ix + ix);
		iy = (int16_t)(iy + iy);
	}
	/* loop over binary sub-division algorithm solving for ir*ix = iy */
	do
	{
		/* generate new candidate solution for ir and test if we are too high or too low */
		itmp = (int16_t)(ir + idelta); /* itmp=ir+delta, the candidate solution */
		itmp = (int16_t)((itmp * ix) >> 15);
		if (itmp <= iy) ir += idelta;
		idelta = (int16_t)(idelta >> 1); /* divide by 2 using right shift one bit */
	} while (idelta >= MINDELTADIV); /* last loop is performed for idelta=MINDELTADIV */
	return (ir);
}

//////////////////////////////////////////////////////

void PID_func (int16_t in, int16_t setpt, int16_t *udata, int16_t kp, int16_t ki, int16_t kd, float T)
{
	float er = 0;
	er = setpt - in;
	udata[0] = udata[1] + kp*(er - udata[2]) + ki*T*er + (kd/T)*(er - 2*udata[2] - udata[3]);
	udata[1] = udata[0];
	udata[3] = udata[2];
	udata[2] = er;
}

///// TAREFA PARA MANIPULA O ACELERÔMETRO E GIROSCÓPIO
void task_AcelGyr( void *pvParameters )
{
	while(1)
	{
		if( xSemaphoreTake(xSerial_semaphore,pdMS_TO_TICKS(3)) == pdTRUE ) //pega o controle do I2C
		{
			MPU6050_Read_Accel();
			MPU6050_Read_Gyro();
			xSemaphoreGive(xSerial_semaphore); //libera o controle do I2C
		}
		vTaskDelay(pdMS_TO_TICKS(10));
	}

}

///////////////////////////////////////////////////////

void task_MagRot( void *pvParameters )
{
	int16_t Bx1, By1, Bz1;
	float Gx1, Gy1, Gz1;
	while(1)
	{
		if( xSemaphoreTake(xSerial_semaphore,pdMS_TO_TICKS(3)) == pdTRUE ) //pega o controle do I2C
		{
			HMC5883L_Read_Mag ();
			xSemaphoreGive(xSerial_semaphore); //libera o controle do I2C
		}
		xQueueReceive(xQueue_VelAux, &Gx1, pdMS_TO_TICKS(1)); // recebe os dados de velocidade Angular na fila
		xQueueReceive(xQueue_VelAux, &Gy1, pdMS_TO_TICKS(1));
		xQueueReceive(xQueue_VelAux, &Gz1, pdMS_TO_TICKS(1));

		xQueueReceive(xQueue_CampAux, &Bx1, pdMS_TO_TICKS(1)); // recebe os dados de velocidade Angular na fila
		xQueueReceive(xQueue_CampAux, &By1, pdMS_TO_TICKS(1));
		xQueueReceive(xQueue_CampAux, &Bz1, pdMS_TO_TICKS(1));

		iecompass(Bx1, By1, Bz1, (int16_t)Gx1, (int16_t)Gy1, (int16_t)Gz1);

		vTaskDelay(pdMS_TO_TICKS(10));
	}
}

////////////////////////////////////////////////////////
void task_RobotPos( void *pvParameters )
{
	static int16_t yaw, Xgps, Ygps, Xst, Yst, YawSt;
	int16_t Kp[3] = {1, 1, 1};
	int16_t Ki[3] = {1, 1, 1};
	int16_t Kd[3] = {1, 1, 1};
	int16_t ref1[4], ref2[4], ref3[4];
	float w1, w2, w3;

	while(1)
	{
		xQueueReceive(xQueue_XYref,&Xgps, pdMS_TO_TICKS(1)); // valores lidos
		xQueueReceive(xQueue_XYref,&Ygps, pdMS_TO_TICKS(1));
		xQueueReceive(xQueue_RotYaw, &yaw, pdMS_TO_TICKS(1));

		xQueueReceive(xQueue_SetpointPos, &Xst, pdMS_TO_TICKS(1)); // setpoints
		xQueueReceive(xQueue_SetpointPos, &Yst, pdMS_TO_TICKS(1));
		xQueueReceive(xQueue_SetpointPos, &YawSt, pdMS_TO_TICKS(1));

		PID_func (Xgps, Xst, ref1, Kp[0], Ki[0], Kd[0], dt);
		PID_func (Ygps, Yst, ref2, Kp[1], Ki[1], Kd[1], dt);
		PID_func (yaw, YawSt, ref3, Kp[2], Ki[2], Kd[2], dt);

		w1 = (1/r)*(sn1*ref1[0] + cs1*ref2[0] + L*ref3[0]); // cálculo matricial das velocidades angulares
		w2 = (1/r)*(sn2*ref1[0] + cs2*ref2[0] + L*ref3[0]);
		w3 = (1/r)*(sn3*ref1[0] + cs3*ref2[0] + L*ref3[0]);

		xQueueSend(xQueue_SetVelMot, &w1, pdMS_TO_TICKS(1));
		xQueueSend(xQueue_SetVelMot, &w2, pdMS_TO_TICKS(1));
		xQueueSend(xQueue_SetVelMot, &w3, pdMS_TO_TICKS(1));

		vTaskDelay(pdMS_TO_TICKS(10));
	}
}
/////////////////////////////// PID control W1,W2,W3///////////////////////

/* USER CODE END 0 */

int main(void)
{

  /* MCU Configuration--------------------------------------------------------*/

  /* Reset of all peripherals, Initializes the Flash interface and the Systick. */
  HAL_Init();

  /* Configure the system clock */
  SystemClock_Config();

  /* Initialize all configured peripherals */
  MX_GPIO_Init();
  MX_USART2_UART_Init();
  MX_I2C3_Init();
  /* USER CODE BEGIN 2 */
  xQueue_GPS = xQueueCreate( 3, sizeof( int16_t ) );
  xQueue_VelAng = xQueueCreate( 3, sizeof( float ) );
  xQueue_VelLin = xQueueCreate( 3, sizeof( float ) );
  xQueue_RotBase = xQueueCreate( 3, sizeof( int16_t ) );
  xQueue_CampMag = xQueueCreate( 3, sizeof( int16_t ) );
  xQueue_VelAux = xQueueCreate( 3, sizeof( float ) );
  xQueue_CampAux = xQueueCreate( 3, sizeof( int16_t ) );
  xQueue_SetpointPos = xQueueCreate( 3, sizeof( int16_t ) ); // poses: {x, y, teta}
  xQueue_SetVelMot = xQueueCreate( 3, sizeof( float ) ); // velocidade: {w1, w2, w3}
  xQueue_RotYaw = xQueueCreate( 1, sizeof( int16_t ) );
  xQueue_XYref = xQueueCreate( 2, sizeof( int16_t ) );

  xSerial_semaphore = xSemaphoreCreateMutex();

  xTaskCreate(task_UARTman, "readwriteUART", 128, NULL, 1, NULL);
  xTaskCreate(task_AcelGyr, "readAcelGyr", 128, NULL, 1, NULL);
  xTaskCreate(task_MagRot, "readMagRot", 128, NULL, 1, NULL);
  xTaskCreate(task_RobotPos, "RobotPosition", 128, NULL, 1, NULL);

  MPU6050_Init();
  HMC5883L_Init();
  Serial_begin(&huart2);  //Configurando para transmitir e recebervia uart
  /* USER CODE END 2 */

  /* Init scheduler */
  osKernelInitialize();

  /* Create the thread(s) */
  /* creation of defaultTask */
  defaultTaskHandle = osThreadNew(StartDefaultTask, NULL, &defaultTask_attributes);

  /* USER CODE BEGIN RTOS_EVENTS */
  /* add events, ... */
  vTaskStartScheduler();
  /* USER CODE END RTOS_EVENTS */

  /* Start scheduler */
  osKernelStart();

  /* We should never get here as control is now taken by the scheduler */
  /* Infinite loop */
  while (1)
  {

  }
}

void SystemClock_Config(void)
{
  RCC_OscInitTypeDef RCC_OscInitStruct = {0};
  RCC_ClkInitTypeDef RCC_ClkInitStruct = {0};

  /** Configure the main internal regulator output voltage
  */
  __HAL_RCC_PWR_CLK_ENABLE();
  __HAL_PWR_VOLTAGESCALING_CONFIG(PWR_REGULATOR_VOLTAGE_SCALE1);
  /** Initializes the RCC Oscillators according to the specified parameters
  * in the RCC_OscInitTypeDef structure.
  */
  RCC_OscInitStruct.OscillatorType = RCC_OSCILLATORTYPE_HSE;
  RCC_OscInitStruct.HSEState = RCC_HSE_ON;
  RCC_OscInitStruct.PLL.PLLState = RCC_PLL_ON;
  RCC_OscInitStruct.PLL.PLLSource = RCC_PLLSOURCE_HSE;
  RCC_OscInitStruct.PLL.PLLM = 4;
  RCC_OscInitStruct.PLL.PLLN = 168;
  RCC_OscInitStruct.PLL.PLLP = RCC_PLLP_DIV2;
  RCC_OscInitStruct.PLL.PLLQ = 4;
  if (HAL_RCC_OscConfig(&RCC_OscInitStruct) != HAL_OK)
  {
    Error_Handler();
  }
  /** Initializes the CPU, AHB and APB buses clocks
  */
  RCC_ClkInitStruct.ClockType = RCC_CLOCKTYPE_HCLK|RCC_CLOCKTYPE_SYSCLK
                              |RCC_CLOCKTYPE_PCLK1|RCC_CLOCKTYPE_PCLK2;
  RCC_ClkInitStruct.SYSCLKSource = RCC_SYSCLKSOURCE_PLLCLK;
  RCC_ClkInitStruct.AHBCLKDivider = RCC_SYSCLK_DIV1;
  RCC_ClkInitStruct.APB1CLKDivider = RCC_HCLK_DIV4;
  RCC_ClkInitStruct.APB2CLKDivider = RCC_HCLK_DIV2;

  if (HAL_RCC_ClockConfig(&RCC_ClkInitStruct, FLASH_LATENCY_5) != HAL_OK)
  {
    Error_Handler();
  }
}

static void MX_I2C3_Init(void)
{

  hi2c3.Instance = I2C3;
  hi2c3.Init.ClockSpeed = 100000;
  hi2c3.Init.DutyCycle = I2C_DUTYCYCLE_2;
  hi2c3.Init.OwnAddress1 = 0;
  hi2c3.Init.AddressingMode = I2C_ADDRESSINGMODE_7BIT;
  hi2c3.Init.DualAddressMode = I2C_DUALADDRESS_DISABLE;
  hi2c3.Init.OwnAddress2 = 0;
  hi2c3.Init.GeneralCallMode = I2C_GENERALCALL_DISABLE;
  hi2c3.Init.NoStretchMode = I2C_NOSTRETCH_DISABLE;
  if (HAL_I2C_Init(&hi2c3) != HAL_OK)
  {
    Error_Handler();
  }

}

static void MX_USART2_UART_Init(void)
{

  huart2.Instance = USART2;
  huart2.Init.BaudRate = 500000;
  huart2.Init.WordLength = UART_WORDLENGTH_8B;
  huart2.Init.StopBits = UART_STOPBITS_1;
  huart2.Init.Parity = UART_PARITY_NONE;
  huart2.Init.Mode = UART_MODE_TX_RX;
  huart2.Init.HwFlowCtl = UART_HWCONTROL_NONE;
  huart2.Init.OverSampling = UART_OVERSAMPLING_16;
  if (HAL_UART_Init(&huart2) != HAL_OK)
  {
    Error_Handler();
  }
  /* USER CODE BEGIN USART2_Init 2 */
  NVIC_SetPriority(USART2_IRQn,
    		NVIC_EncodePriority(NVIC_GetPriorityGrouping(), 0, 0));
  NVIC_EnableIRQ(USART2_IRQn);
  /* USER CODE END USART2_Init 2 */

}

static void MX_GPIO_Init(void)
{
  GPIO_InitTypeDef GPIO_InitStruct = {0};

  /* GPIO Ports Clock Enable */
  __HAL_RCC_GPIOC_CLK_ENABLE();
  __HAL_RCC_GPIOH_CLK_ENABLE();
  __HAL_RCC_GPIOA_CLK_ENABLE();

  /*Configure GPIO pin : READY_RECEIVE_PATH_PIN_Pin */
  GPIO_InitStruct.Pin = READY_RECEIVE_PATH_PIN_Pin;
  GPIO_InitStruct.Mode = GPIO_MODE_INPUT;
  GPIO_InitStruct.Pull = GPIO_PULLUP;
  HAL_GPIO_Init(READY_RECEIVE_PATH_PIN_GPIO_Port, &GPIO_InitStruct);

}

/* USER CODE BEGIN 4 */
/*xQueueSend(xQueue_VelAng, &Gx, pdMS_TO_TICKS(1)); // deixa os dados de velocidade Angular na fila
	xQueueSend(xQueue_VelAng, &Gy, pdMS_TO_TICKS(1));
	xQueueSend(xQueue_VelAng, &Gz, pdMS_TO_TICKS(1));

	xQueueSend(xQueue_CampMag, &Bx, pdMS_TO_TICKS(1)); // deixa os dados de Campo na fila
	xQueueSend(xQueue_CampMag, &By, pdMS_TO_TICKS(1));
	xQueueSend(xQueue_CampMag, &Bz, pdMS_TO_TICKS(1));*/
/* USER CODE END 4 */

void StartDefaultTask(void *argument)
{
  for(;;)
  {
    osDelay(1);
  }
}

void HAL_TIM_PeriodElapsedCallback(TIM_HandleTypeDef *htim)
{
  if (htim->Instance == TIM6) {
    HAL_IncTick();
  }
}

void Error_Handler(void)
{
  __disable_irq();
  while (1)
  {
  }
}

/************************ (C) COPYRIGHT STMicroelectronics *****END OF FILE****/
